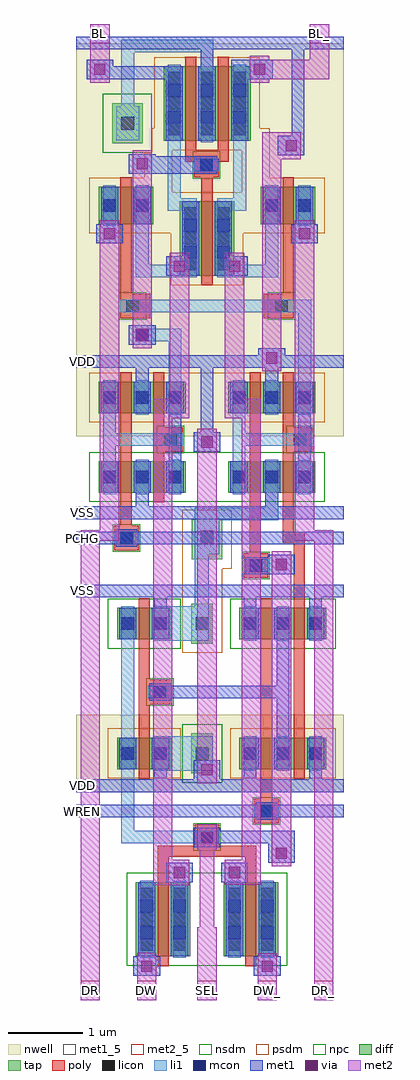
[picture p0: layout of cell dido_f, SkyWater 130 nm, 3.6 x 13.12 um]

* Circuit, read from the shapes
.subckt dido_f BL BL_ DR DR_ DW DW_ PCHG SEL VDD VSS WREN
XM1 VSS PCHG n1 VSS sky130_fd_pr__nfet_01v8 w=0.42 l=0.15
XM2 VSS n2 n3 VSS sky130_fd_pr__nfet_01v8 w=0.42 l=0.15
XM3 n4 n1 VSS VSS sky130_fd_pr__nfet_01v8 w=0.42 l=0.15
XM4 BL n3 DW VSS sky130_fd_pr__nfet_01v8 w=1 l=0.15
XM5 DW_ n3 BL_ VSS sky130_fd_pr__nfet_01v8 w=1 l=0.15
XM6 VSS SEL n5 VSS sky130_fd_pr__nfet_01v8 w=0.42 l=0.15
XM7 n2 WREN VSS VSS sky130_fd_pr__nfet_01v8 w=0.42 l=0.15
XM8 n6 n5 VSS VSS sky130_fd_pr__nfet_01v8 w=0.42 l=0.15
XM9 VSS n5 n2 VSS sky130_fd_pr__nfet_01v8 w=0.42 l=0.15
XM10 VDD PCHG n1 VDD sky130_fd_pr__pfet_01v8 w=0.42 l=0.15
XM11 BL n6 DR VDD sky130_fd_pr__pfet_01v8 w=0.5 l=0.15
XM12 VDD n2 n3 VDD sky130_fd_pr__pfet_01v8 w=0.42 l=0.15
XM13 n4 n1 VDD VDD sky130_fd_pr__pfet_01v8 w=0.42 l=0.15
XM14 VDD n4 BL VDD sky130_fd_pr__pfet_01v8 w=1 l=0.15
XM15 BL_ n4 BL VDD sky130_fd_pr__pfet_01v8 w=1 l=0.15
XM16 BL_ n4 VDD VDD sky130_fd_pr__pfet_01v8 w=1 l=0.15
XM17 VDD SEL n5 VDD sky130_fd_pr__pfet_01v8 w=0.42 l=0.15
XM18 n2 WREN VDD VDD sky130_fd_pr__pfet_01v8 w=0.42 l=0.15
XM19 n6 n5 VDD VDD sky130_fd_pr__pfet_01v8 w=0.42 l=0.15
XM20 DR_ n6 BL_ VDD sky130_fd_pr__pfet_01v8 w=0.5 l=0.15
XM21 VDD n5 n2 VDD sky130_fd_pr__pfet_01v8 w=0.42 l=0.15
.ends

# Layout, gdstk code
import gdstk
lib = gdstk.Library(unit=1e-6, precision=1e-09)
def R(c, l, rs):  # rectangles x0, y0, x1, y1
    for r in rs: c.add(gdstk.rectangle(r[:2], r[2:], *l))
def A(c, l, x, y, w, h, nx, ny, dx, dy):  # array of equal rectangles
    R(c, l, [(x+i*dx, y+j*dy, x+i*dx+w, y+j*dy+h) for i in range(nx) for j in range(ny)])
nwell = (64, 20)
diff = (65, 20)
tap = (65, 44)
poly = (66, 20)
licon = (66, 44)
li1 = (67, 20)
mcon = (67, 44)
met1_5 = (68, 5)
met1 = (68, 20)
via = (68, 44)
met2_5 = (69, 5)
met2 = (69, 20)
nsdm = (93, 44)
psdm = (94, 20)
npc = (95, 20)

dido_f = lib.new_cell('dido_f')
R(dido_f, nwell, [(0,2.795,3.6,3.835), (0,7.58,3.6,12.86)])
R(dido_f, diff, [(0.805,0.585,1.535,1.585), (1.985,0.585,2.715,1.585), (0.55,3.105,1.28,3.525), (2.195,3.105,3.365,3.525), (0.55,4.85,1.28,5.27), (2.195,4.85,3.365,5.27), (0.305,6.82,1.475,7.24), (2.045,6.82,3.215,7.24), (0.305,7.89,1.475,8.31), (2.045,7.89,3.215,8.31), (1.395,9.735,2.125,10.735), (0.305,10.43,1.035,10.93), (2.485,10.43,3.215,10.93), (1.175,11.55,2.345,12.55)])
R(dido_f, tap, [(1.55,3.045,1.84,3.585), (1.55,4.79,1.84,5.33), (1.555,5.925,1.965,6.465), (0.485,11.515,0.895,12.055)])
R(dido_f, poly, [(1.095,0.455,1.245,1.925), (2.275,0.455,2.425,1.925), (1.095,1.925,2.425,2.075), (1.595,2.075,1.925,2.355), (2.395,2.375,2.725,2.705), (2.485,2.705,2.635,5.4), (0.84,2.975,0.99,3.975), (2.925,2.975,3.075,6.145), (0.84,3.975,1.295,4.305), (0.84,4.305,0.99,5.4), (2.255,5.675,2.585,6.005), (2.335,6.005,2.485,8.44), (0.515,6.045,0.845,6.375), (2.775,6.145,3.075,6.295), (2.775,6.295,2.925,7.37), (0.595,6.375,0.745,8.44), (1.035,6.69,1.185,7.37), (1.035,7.37,1.435,7.7), (2.775,7.37,3.175,7.7), (1.035,7.7,1.185,8.44), (2.775,7.7,2.925,8.44), (0.595,9.165,0.995,9.495), (2.525,9.165,2.925,9.495), (0.595,9.495,0.745,11.06), (2.775,9.495,2.925,11.06), (1.685,9.605,1.835,11.06), (1.59,11.06,1.92,11.27), (1.465,11.27,2.055,11.42), (1.465,11.42,1.615,12.68), (1.905,11.42,2.055,12.68)])
A(dido_f, licon, 0.865, 0.66, 0.17, 0.17, 1, 3, 0, 0.34)
A(dido_f, licon, 1.305, 0.66, 0.17, 0.17, 1, 3, 0, 0.34)
A(dido_f, licon, 2.045, 0.66, 0.17, 0.17, 1, 3, 0, 0.34)
A(dido_f, licon, 2.485, 0.66, 0.17, 0.17, 1, 3, 0, 0.34)
A(dido_f, licon, 2.255, 3.23, 0.17, 0.17, 3, 2, 0.44, 1.745)
A(dido_f, licon, 0.365, 6.945, 0.17, 0.17, 3, 2, 0.44, 1.07)
A(dido_f, licon, 2.105, 6.945, 0.17, 0.17, 3, 2, 0.44, 1.07)
A(dido_f, licon, 1.455, 9.81, 0.17, 0.17, 1, 3, 0, 0.34)
A(dido_f, licon, 1.895, 9.81, 0.17, 0.17, 1, 3, 0, 0.34)
A(dido_f, licon, 1.235, 11.625, 0.17, 0.17, 3, 3, 0.44, 0.34)
R(dido_f, licon, [(1.675,2.105,1.845,2.275), (2.475,2.455,2.645,2.625), (0.61,3.23,0.78,3.4), (1.05,3.23,1.22,3.4), (1.61,3.23,1.78,3.4), (1.045,4.055,1.215,4.225), (0.61,4.975,0.78,5.145), (1.05,4.975,1.22,5.145), (1.61,4.975,1.78,5.145), (2.335,5.755,2.505,5.925), (0.595,6.125,0.765,6.295), (1.675,6.135,1.845,6.305), (1.185,7.45,1.355,7.62), (2.925,7.45,3.095,7.62), (0.675,9.245,0.845,9.415), (2.675,9.245,2.845,9.415), (0.365,10.595,0.535,10.765), (0.805,10.595,0.975,10.765), (2.545,10.595,2.715,10.765), (2.985,10.595,3.155,10.765), (1.67,11.14,1.84,11.31), (0.61,11.7,0.78,11.87)])
A(dido_f, li1, 2.255, 3.085, 0.17, 0.46, 3, 2, 0.44, 1.745)
R(dido_f, li1, [(0.865,0.565,1.035,1.605), (1.305,0.565,1.475,1.605), (2.045,0.565,2.215,1.605), (2.485,0.565,2.655,1.605), (0.61,2.105,1.925,2.275), (0.61,2.275,0.78,5.29), (2.395,2.455,2.725,2.625), (1.05,3.085,1.84,3.545), (0.965,4.055,1.295,4.225), (1.05,4.83,1.78,5.29), (1.595,5.29,1.78,5.99), (2.255,5.755,2.585,5.925), (1.595,5.99,1.925,6.45), (0.515,6.125,0.845,6.295), (1.595,6.45,2.72,6.62), (2.545,6.62,2.715,7.26), (0.365,6.8,0.535,7.45), (0.805,6.8,0.975,7.26), (1.245,6.8,1.415,7.26), (2.105,6.8,2.275,7.45), (2.985,6.8,3.155,7.26), (0.365,7.45,1.435,7.62), (2.105,7.45,3.175,7.62), (0.365,7.62,0.535,8.33), (2.105,7.62,2.275,8.33), (0.805,7.87,0.975,8.33), (1.245,7.87,1.415,8.855), (2.545,7.87,2.715,8.33), (2.985,7.87,3.155,8.33), (2.985,8.33,3.16,9.245), (0.805,8.855,1.415,9.025), (0.595,9.245,3.16,9.415), (0.805,9.715,1.625,9.885), (1.895,9.715,2.715,9.885), (0.805,9.885,0.975,10.95), (1.455,9.885,1.625,10.61), (1.895,9.885,2.065,10.61), (2.545,9.885,2.715,10.95), (0.365,10.41,0.535,10.95), (2.985,10.41,3.155,10.95), (1.235,10.61,1.625,10.78), (1.895,10.61,2.285,10.78), (1.235,10.78,1.405,12.57), (2.115,10.78,2.285,12.57), (1.59,11.14,1.92,11.31), (1.675,11.53,1.845,12.74), (0.54,11.555,0.85,12.015), (0.61,12.015,0.78,12.74), (0.61,12.74,1.845,12.91)])
A(dido_f, mcon, 2.255, 3.23, 0.17, 0.17, 3, 2, 0.44, 1.745)
A(dido_f, mcon, 0.365, 6.945, 0.17, 0.17, 3, 2, 0.44, 1.07)
A(dido_f, mcon, 2.105, 6.945, 0.17, 0.17, 3, 2, 0.44, 1.07)
A(dido_f, mcon, 1.235, 11.785, 0.17, 0.17, 3, 2, 0.44, 0.36)
R(dido_f, mcon, [(0.865,0.82,1.035,0.99), (1.305,0.82,1.475,0.99), (2.045,0.82,2.215,0.99), (2.485,0.82,2.655,0.99), (0.865,1.18,1.035,1.35), (1.305,1.18,1.475,1.35), (2.045,1.18,2.215,1.35), (2.485,1.18,2.655,1.35), (2.475,2.455,2.645,2.625), (0.61,3.23,0.78,3.4), (1.05,3.23,1.22,3.4), (1.045,4.055,1.215,4.225), (0.61,4.975,0.78,5.145), (1.05,4.975,1.22,5.145), (2.335,5.755,2.505,5.925), (0.595,6.125,0.765,6.295), (0.805,8.855,0.975,9.025), (1.455,9.97,1.625,10.14), (1.895,9.97,2.065,10.14), (1.455,10.33,1.625,10.5), (1.895,10.33,2.065,10.5), (0.365,10.595,0.535,10.765), (0.805,10.595,0.975,10.765), (2.545,10.595,2.715,10.765), (2.985,10.595,3.155,10.765), (1.67,11.14,1.84,11.31)])
R(dido_f, met1_5, [(0.005,2.455,0.175,2.625), (0.005,2.795,0.175,2.965), (0.005,5.415,0.175,5.585), (0.005,6.125,0.175,6.295), (0.005,6.465,0.175,6.635), (0,8.5,0.17,8.67)])
A(dido_f, met1, 2.225, 3.105, 0.23, 0.42, 3, 2, 0.44, 1.745)
A(dido_f, met1, 0.335, 6.82, 0.23, 0.42, 3, 2, 0.44, 1.07)
A(dido_f, met1, 2.075, 6.82, 0.23, 0.42, 3, 2, 0.44, 1.07)
R(dido_f, met1, [(0.77,0.325,1.13,0.585), (2.39,0.325,2.75,0.585), (0.835,0.585,1.065,1.585), (1.275,0.585,1.505,1.585), (2.015,0.585,2.245,1.585), (2.455,0.585,2.685,1.585), (1.21,1.585,1.57,1.845), (1.95,1.585,2.31,1.845), (2.58,1.845,2.94,2.105), (1.58,2.055,1.94,2.105), (1.58,2.105,2.94,2.275), (1.58,2.275,1.94,2.315), (2.415,2.425,2.705,2.455), (0,2.455,3.6,2.625), (2.415,2.625,2.705,2.655), (0,2.795,3.6,2.965), (1.05,2.965,1.22,3.105), (1.58,2.965,1.94,3.225), (2.255,2.965,2.425,3.105), (3.135,2.965,3.305,3.105), (0.58,3.105,0.81,3.525), (1.02,3.105,1.25,3.525), (2.695,3.525,2.865,4.055), (0.985,4.025,1.275,4.055), (0.985,4.055,2.865,4.225), (0.985,4.225,1.275,4.255), (2.695,4.225,2.865,4.85), (0.58,4.85,0.81,5.27), (1.02,4.85,1.25,5.27), (1.05,5.27,1.22,5.415), (2.255,5.27,2.425,5.415), (3.135,5.27,3.305,5.415), (0,5.415,3.6,5.585), (2.275,5.725,2.94,5.955), (2.58,5.955,2.94,5.985), (0.535,6.095,0.825,6.125), (0,6.125,3.6,6.295), (0.535,6.295,0.825,6.325), (0,6.465,3.6,6.635), (0.805,6.635,0.975,6.82), (2.545,6.635,2.715,6.82), (1.245,7.24,1.415,7.89), (2.985,7.24,3.155,7.89), (1.58,7.37,1.94,7.63), (1.675,7.63,1.845,8.5), (0.805,8.31,0.975,8.5), (2.545,8.31,2.715,8.5), (0,8.5,3.6,8.67), (2.45,8.67,2.81,8.76), (0.71,8.81,1.07,9.07), (1.21,9.735,1.655,9.995), (1.865,9.735,2.31,9.995), (1.425,9.995,1.655,10.735), (1.865,9.995,2.095,10.735), (0.27,10.17,0.63,10.43), (2.89,10.17,3.25,10.43), (0.335,10.43,0.565,10.93), (0.775,10.43,1.005,10.93), (2.515,10.43,2.745,10.93), (2.955,10.43,3.185,10.93), (0.71,11.11,1.9,11.14), (0.71,11.14,1.92,11.31), (0.71,11.31,1.9,11.34), (0.71,11.34,1.07,11.37), (2.71,11.355,3.07,11.615), (1.205,11.55,1.435,12.38), (1.645,11.55,1.875,12.55), (2.085,11.55,2.315,12.38), (2.9,11.615,3.07,12.78), (0.14,12.38,1.435,12.55), (2.085,12.38,2.645,12.64), (0.14,12.55,0.5,12.64), (1.675,12.55,1.845,12.78), (0,12.78,3.6,12.95)])
R(dido_f, via, [(0.875,0.38,1.025,0.53), (2.495,0.38,2.645,0.53), (1.315,1.64,1.465,1.79), (2.055,1.64,2.205,1.79), (2.685,1.9,2.835,2.05), (1.685,2.11,1.835,2.26), (1.685,3.02,1.835,3.17), (2.685,5.78,2.835,5.93), (1.685,7.425,1.835,7.575), (2.555,8.555,2.705,8.705), (0.815,8.865,0.965,9.015), (1.315,9.79,1.465,9.94), (2.055,9.79,2.205,9.94), (0.375,10.225,0.525,10.375), (2.995,10.225,3.145,10.375), (0.815,11.165,0.965,11.315), (2.815,11.41,2.965,11.56), (0.245,12.435,0.395,12.585), (2.39,12.435,2.54,12.585)])
A(dido_f, met2_5, 0.82, 0, 0.26, 0.26, 3, 1, 0.81, 0)
R(dido_f, met2_5, [(0.06,0,0.32,0.26), (3.2,0,3.46,0.26), (0.19,12.86,0.45,13.12), (3.14,12.86,3.4,13.12)])
R(dido_f, met2, [(0.06,0,0.32,6.175), (0.82,0,1.08,0.635), (1.63,0,1.89,0.975), (2.44,0,2.7,0.63), (3.2,0,3.46,6.175), (1.66,0.975,1.86,2.025), (1.035,1.545,1.52,1.885), (2,1.55,2.485,1.885), (2.63,1.795,2.89,6.035), (1.035,1.885,1.295,7.82), (2.225,1.885,2.485,7.82), (1.63,2.025,1.89,2.365), (1.63,2.915,1.89,7.68), (0.06,6.175,0.58,6.315), (2.94,6.175,3.46,6.315), (0.32,6.315,0.58,10.48), (2.94,6.315,3.2,10.48), (1.035,7.82,1.52,8.08), (2,7.82,2.485,8.08), (1.26,8.08,1.52,10.045), (2,8.08,2.26,10.045), (2.5,8.45,2.76,11.305), (0.76,8.76,1.02,11.42), (2.5,11.305,3.02,11.665), (0.19,12.33,0.45,13.12), (2.335,12.33,2.595,12.38), (2.335,12.38,3.4,12.64), (2.335,12.64,2.595,12.69), (3.14,12.64,3.4,13.12)])
R(dido_f, nsdm, [(0.68,0.46,2.84,1.71), (1.425,2.92,1.965,3.71), (0.425,4.725,1.405,5.395), (2.07,4.725,3.49,5.395), (0.18,6.695,3.34,7.365), (0.36,11.39,1.02,12.18)])
R(dido_f, psdm, [(0.425,2.98,1.405,3.65), (2.07,2.98,3.49,3.65), (1.425,4.665,1.965,5.455), (1.43,5.455,1.965,5.8), (1.43,5.8,2.09,6.59), (0.18,7.765,3.34,8.435), (1.27,9.61,2.25,10.305), (0.18,10.305,3.34,10.86), (0.18,10.86,1.295,11.055), (2.225,10.86,3.34,11.055), (0.915,11.055,1.295,11.39), (2.225,11.055,2.605,11.425), (1.02,11.39,1.295,11.425), (1.02,11.425,2.605,11.72), (1.05,11.72,2.47,12.675)])
R(dido_f, npc, [(1.575,2.005,1.945,2.375), (2.375,2.355,2.745,2.725), (0.945,3.955,1.315,4.325), (2.235,5.655,2.605,6.025), (0.495,6.025,0.865,6.395), (1.085,7.35,1.455,7.72), (2.825,7.35,3.195,7.72), (0.575,9.145,0.945,9.515), (2.575,9.145,2.945,9.515), (1.57,11.04,1.94,11.41)])
dido_f.add(gdstk.Label('WREN', (0.09,2.54), layer=68, texttype=5))
dido_f.add(gdstk.Label('VDD', (0.09,2.88), layer=68, texttype=5))
dido_f.add(gdstk.Label('VSS', (0.09,5.5), layer=68, texttype=5))
dido_f.add(gdstk.Label('PCHG', (0.09,6.21), layer=68, texttype=5))
dido_f.add(gdstk.Label('VSS', (0.09,6.55), layer=68, texttype=5))
dido_f.add(gdstk.Label('VDD', (0.085,8.585), layer=68, texttype=5))
dido_f.add(gdstk.Label('DR_', (3.33,0.13), layer=69, texttype=5))
dido_f.add(gdstk.Label('DW_', (2.57,0.13), layer=69, texttype=5))
dido_f.add(gdstk.Label('SEL', (1.76,0.13), layer=69, texttype=5))
dido_f.add(gdstk.Label('DW', (0.95,0.13), layer=69, texttype=5))
dido_f.add(gdstk.Label('DR', (0.19,0.13), layer=69, texttype=5))
dido_f.add(gdstk.Label('BL_', (3.27,12.99), layer=69, texttype=5))
dido_f.add(gdstk.Label('BL', (0.32,12.99), layer=69, texttype=5))

lib.write_gds('dido_f.gds')
